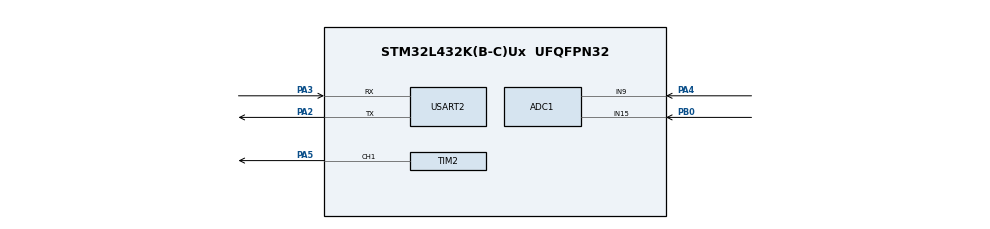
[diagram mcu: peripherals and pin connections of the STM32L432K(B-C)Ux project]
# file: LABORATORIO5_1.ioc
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ADC1.Channel-5\#ChannelRegularConversion=ADC_CHANNEL_9
ADC1.NbrOfConversionFlag=1
ADC1.OffsetNumber-5\#ChannelRegularConversion=ADC_OFFSET_NONE
ADC1.Rank-5\#ChannelRegularConversion=1
ADC1.SamplingTime-5\#ChannelRegularConversion=ADC_SAMPLETIME_2CYCLES_5
ADC1.master=1
Mcu.Family=STM32L4
Mcu.Name=STM32L432K(B-C)Ux
Mcu.Package=UFQFPN32
NVIC.PriorityGroup=NVIC_PRIORITYGROUP_4
PA2.Mode=Asynchronous
PA2.Signal=USART2_TX
PA3.Mode=Asynchronous
PA3.Signal=USART2_RX
PA4.Signal=ADCx_IN9
PA5.Signal=S_TIM2_CH1
PB0.Signal=ADCx_IN15
ProjectManager.HeapSize=0x200
ProjectManager.StackSize=0x400
ProjectManager.TargetToolchain=STM32CubeIDE
RCC.ADCFreq_Value=32000000
RCC.HSE_VALUE=8000000
RCC.HSI48_VALUE=48000000
RCC.HSI_VALUE=16000000
RCC.LSE_VALUE=32768
RCC.MSI_VALUE=4000000
RCC.PLLSAI1N=16
RCC.USBFreq_Value=32000000
RCC.VCOOutputFreq_Value=32000000
SH.ADCx_IN15.0=ADC1_IN15,IN15-Single-Ended
SH.ADCx_IN9.0=ADC1_IN9,IN9-Single-Ended
SH.S_TIM2_CH1.0=TIM2_CH1,PWM Generation1 CH1
TIM2.AutoReloadPreload=TIM_AUTORELOAD_PRELOAD_ENABLE
TIM2.Channel-PWM\ Generation1\ CH1=TIM_CHANNEL_1
TIM2.Period=65535
USART2.VirtualMode-Asynchronous=VM_ASYNC
VP_TIM2_VS_ClockSourceINT.Mode=Internal
board=custom

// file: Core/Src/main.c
/* USER CODE BEGIN Header */
/**
  ******************************************************************************
  * @file           : main.c
  * @brief          : Main program body
  ******************************************************************************
  * @attention
  *
  * Copyright (c) 2022 STMicroelectronics.
  * All rights reserved.
  *
  * This software is licensed under terms that can be found in the LICENSE file
  * in the root directory of this software component.
  * If no LICENSE file comes with this software, it is provided AS-IS.
  *
  ******************************************************************************
  */
/* USER CODE END Header */
#include "main.h"

ADC_HandleTypeDef hadc1;

TIM_HandleTypeDef htim2;

UART_HandleTypeDef huart2;

/* USER CODE BEGIN PV */
uint16_t readValue;
uint16_t PWM;
/* USER CODE END PV */

void SystemClock_Config(void);
static void MX_GPIO_Init(void);
static void MX_ADC1_Init(void);
static void MX_USART2_UART_Init(void);
static void MX_TIM2_Init(void);

int main(void)
{

  /* MCU Configuration--------------------------------------------------------*/

  /* Reset of all peripherals, Initializes the Flash interface and the Systick. */
  HAL_Init();

  /* Configure the system clock */
  SystemClock_Config();

  /* Initialize all configured peripherals */
  MX_GPIO_Init();
  MX_ADC1_Init();
  MX_USART2_UART_Init();
  MX_TIM2_Init();
  /* USER CODE BEGIN 2 */
  HAL_TIM_PWM_Start(&htim2, TIM_CHANNEL_1);
  /* USER CODE END 2 */

  /* Infinite loop */
  /* USER CODE BEGIN WHILE */
  while (1)
  {
	  HAL_ADC_Start(&hadc1);
	  HAL_ADC_PollForConversion(&hadc1,1000);
	  readValue = HAL_ADC_GetValue(&hadc1);
	  HAL_ADC_Stop(&hadc1);
	  PWM = readValue;

	  if (PWM<500){
		  uint8_t Test [] = "SABIAS QUE.. \r\n " ; //Datos para enviar
			  HAL_UART_Transmit ( & huart2 , Test , sizeof ( Test ), 10 ); // EnvÃ­o en modo normal
			  HAL_Delay ( 1000 );

	  }

	  else if (PWM<1500){
		  uint8_t Test [] = "TUS OJOS.. \r\n " ; //Datos para enviar
			  HAL_UART_Transmit ( & huart2 , Test , sizeof ( Test ), 10 ); // EnvÃ­o en modo normal
			  HAL_Delay ( 1000 );

	  }

	  else if (PWM<2500){
		  uint8_t Test [] = "HACEN MÃ?S EJERCICIO \r\n " ; //Datos para enviar
			  HAL_UART_Transmit ( & huart2 , Test , sizeof ( Test ), 10 ); // EnvÃ­o en modo normal
			  HAL_Delay ( 1000 );

	  }

	  else{

	  uint8_t Test [] = "QUE TUS PIERNAS! \r\n " ; //Datos para enviar
		  HAL_UART_Transmit ( & huart2 , Test , sizeof ( Test ), 10 ); // EnvÃ­o en modo normal
		  HAL_Delay ( 1000 );
	  }

    /* USER CODE END WHILE */

  }
}

void SystemClock_Config(void)
{
  RCC_OscInitTypeDef RCC_OscInitStruct = {0};
  RCC_ClkInitTypeDef RCC_ClkInitStruct = {0};

  /** Configure the main internal regulator output voltage
  */
  if (HAL_PWREx_ControlVoltageScaling(PWR_REGULATOR_VOLTAGE_SCALE1) != HAL_OK)
  {
    Error_Handler();
  }

  /** Initializes the RCC Oscillators according to the specified parameters
  * in the RCC_OscInitTypeDef structure.
  */
  RCC_OscInitStruct.OscillatorType = RCC_OSCILLATORTYPE_MSI;
  RCC_OscInitStruct.MSIState = RCC_MSI_ON;
  RCC_OscInitStruct.MSICalibrationValue = 0;
  RCC_OscInitStruct.MSIClockRange = RCC_MSIRANGE_6;
  RCC_OscInitStruct.PLL.PLLState = RCC_PLL_NONE;
  if (HAL_RCC_OscConfig(&RCC_OscInitStruct) != HAL_OK)
  {
    Error_Handler();
  }

  /** Initializes the CPU, AHB and APB buses clocks
  */
  RCC_ClkInitStruct.ClockType = RCC_CLOCKTYPE_HCLK|RCC_CLOCKTYPE_SYSCLK
                              |RCC_CLOCKTYPE_PCLK1|RCC_CLOCKTYPE_PCLK2;
  RCC_ClkInitStruct.SYSCLKSource = RCC_SYSCLKSOURCE_MSI;
  RCC_ClkInitStruct.AHBCLKDivider = RCC_SYSCLK_DIV1;
  RCC_ClkInitStruct.APB1CLKDivider = RCC_HCLK_DIV1;
  RCC_ClkInitStruct.APB2CLKDivider = RCC_HCLK_DIV1;

  if (HAL_RCC_ClockConfig(&RCC_ClkInitStruct, FLASH_LATENCY_0) != HAL_OK)
  {
    Error_Handler();
  }
}

static void MX_ADC1_Init(void)
{

  ADC_ChannelConfTypeDef sConfig = {0};

  /** Common config
  */
  hadc1.Instance = ADC1;
  hadc1.Init.ClockPrescaler = ADC_CLOCK_ASYNC_DIV1;
  hadc1.Init.Resolution = ADC_RESOLUTION_12B;
  hadc1.Init.DataAlign = ADC_DATAALIGN_RIGHT;
  hadc1.Init.ScanConvMode = ADC_SCAN_DISABLE;
  hadc1.Init.EOCSelection = ADC_EOC_SINGLE_CONV;
  hadc1.Init.LowPowerAutoWait = DISABLE;
  hadc1.Init.ContinuousConvMode = DISABLE;
  hadc1.Init.NbrOfConversion = 1;
  hadc1.Init.DiscontinuousConvMode = DISABLE;
  hadc1.Init.ExternalTrigConv = ADC_SOFTWARE_START;
  hadc1.Init.ExternalTrigConvEdge = ADC_EXTERNALTRIGCONVEDGE_NONE;
  hadc1.Init.DMAContinuousRequests = DISABLE;
  hadc1.Init.Overrun = ADC_OVR_DATA_PRESERVED;
  hadc1.Init.OversamplingMode = DISABLE;
  if (HAL_ADC_Init(&hadc1) != HAL_OK)
  {
    Error_Handler();
  }

  /** Configure Regular Channel
  */
  sConfig.Channel = ADC_CHANNEL_9;
  sConfig.Rank = ADC_REGULAR_RANK_1;
  sConfig.SamplingTime = ADC_SAMPLETIME_2CYCLES_5;
  sConfig.SingleDiff = ADC_SINGLE_ENDED;
  sConfig.OffsetNumber = ADC_OFFSET_NONE;
  sConfig.Offset = 0;
  if (HAL_ADC_ConfigChannel(&hadc1, &sConfig) != HAL_OK)
  {
    Error_Handler();
  }

}

static void MX_TIM2_Init(void)
{

  TIM_ClockConfigTypeDef sClockSourceConfig = {0};
  TIM_MasterConfigTypeDef sMasterConfig = {0};
  TIM_OC_InitTypeDef sConfigOC = {0};

  htim2.Instance = TIM2;
  htim2.Init.Prescaler = 0;
  htim2.Init.CounterMode = TIM_COUNTERMODE_UP;
  htim2.Init.Period = 65535;
  htim2.Init.ClockDivision = TIM_CLOCKDIVISION_DIV1;
  htim2.Init.AutoReloadPreload = TIM_AUTORELOAD_PRELOAD_ENABLE;
  if (HAL_TIM_Base_Init(&htim2) != HAL_OK)
  {
    Error_Handler();
  }
  sClockSourceConfig.ClockSource = TIM_CLOCKSOURCE_INTERNAL;
  if (HAL_TIM_ConfigClockSource(&htim2, &sClockSourceConfig) != HAL_OK)
  {
    Error_Handler();
  }
  if (HAL_TIM_PWM_Init(&htim2) != HAL_OK)
  {
    Error_Handler();
  }
  sMasterConfig.MasterOutputTrigger = TIM_TRGO_RESET;
  sMasterConfig.MasterSlaveMode = TIM_MASTERSLAVEMODE_DISABLE;
  if (HAL_TIMEx_MasterConfigSynchronization(&htim2, &sMasterConfig) != HAL_OK)
  {
    Error_Handler();
  }
  sConfigOC.OCMode = TIM_OCMODE_PWM1;
  sConfigOC.Pulse = 0;
  sConfigOC.OCPolarity = TIM_OCPOLARITY_HIGH;
  sConfigOC.OCFastMode = TIM_OCFAST_DISABLE;
  if (HAL_TIM_PWM_ConfigChannel(&htim2, &sConfigOC, TIM_CHANNEL_1) != HAL_OK)
  {
    Error_Handler();
  }
  HAL_TIM_MspPostInit(&htim2);

}

static void MX_USART2_UART_Init(void)
{

  huart2.Instance = USART2;
  huart2.Init.BaudRate = 115200;
  huart2.Init.WordLength = UART_WORDLENGTH_8B;
  huart2.Init.StopBits = UART_STOPBITS_1;
  huart2.Init.Parity = UART_PARITY_NONE;
  huart2.Init.Mode = UART_MODE_TX_RX;
  huart2.Init.HwFlowCtl = UART_HWCONTROL_NONE;
  huart2.Init.OverSampling = UART_OVERSAMPLING_16;
  huart2.Init.OneBitSampling = UART_ONE_BIT_SAMPLE_DISABLE;
  huart2.AdvancedInit.AdvFeatureInit = UART_ADVFEATURE_NO_INIT;
  if (HAL_UART_Init(&huart2) != HAL_OK)
  {
    Error_Handler();
  }

}

static void MX_GPIO_Init(void)
{

  /* GPIO Ports Clock Enable */
  __HAL_RCC_GPIOA_CLK_ENABLE();
  __HAL_RCC_GPIOB_CLK_ENABLE();

}

void Error_Handler(void)
{
  __disable_irq();
  while (1)
  {
  }
}
